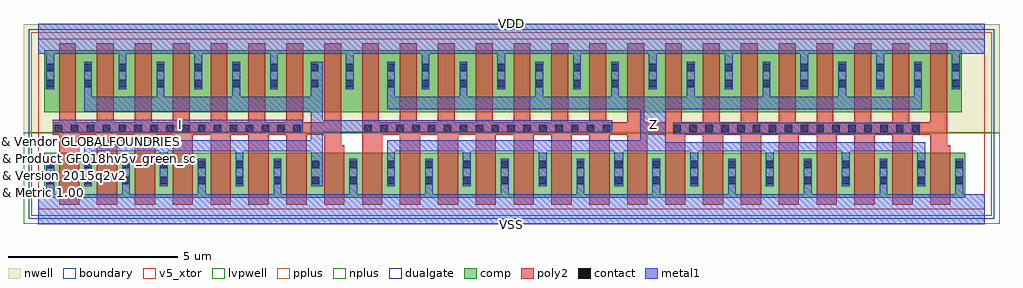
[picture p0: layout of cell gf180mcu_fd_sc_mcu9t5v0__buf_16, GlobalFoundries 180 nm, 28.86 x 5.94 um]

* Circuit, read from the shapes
.subckt gf180mcu_fd_sc_mcu9t5v0__buf_16 I VDD VSS Z
XM1 n1 I VSS VSUBS nfet_05v0 w=1.32u l=0.6u m=8
XM2 Z n1 VSS VSUBS nfet_05v0 w=1.32u l=0.6u m=16
XM3 n1 I VDD n2 pfet_05v0 w=1.83u l=0.5u m=8
XM4 Z n1 VDD n2 pfet_05v0 w=1.83u l=0.5u m=16
.ends

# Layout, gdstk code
import gdstk
lib = gdstk.Library(unit=1e-6, precision=1e-09)
def R(c, l, rs):  # rectangles x0, y0, x1, y1
    for r in rs: c.add(gdstk.rectangle(r[:2], r[2:], *l))
def A(c, l, x, y, w, h, nx, ny, dx, dy):  # array of equal rectangles
    R(c, l, [(x+i*dx, y+j*dy, x+i*dx+w, y+j*dy+h) for i in range(nx) for j in range(ny)])
def P(c, l, *ps):  # polygons
    for p in ps: c.add(gdstk.Polygon(p, *l))
boundary = (0, 0)
nwell = (21, 0)
comp = (22, 0)
poly2 = (30, 0)
pplus = (31, 0)
nplus = (32, 0)
contact = (33, 0)
metal1 = (34, 0)
dualgate = (55, 0)
v5_xtor = (112, 1)
lvpwell = (204, 0)

gf180mcu_fd_sc_mcu9t5v0_ = lib.new_cell('gf180mcu_fd_sc_mcu9t5v0__buf_16')
R(gf180mcu_fd_sc_mcu9t5v0_, boundary, [(0,0,28,5.04)])
R(gf180mcu_fd_sc_mcu9t5v0_, nwell, [(-0.43,2.265,28.43,5.47)])
R(gf180mcu_fd_sc_mcu9t5v0_, comp, [(0.18,0.345,27.42,1.665), (0.18,2.865,27.32,4.695)])
P(gf180mcu_fd_sc_mcu9t5v0_, poly2, [(0.62,0.125),(0.62,2.205),(0.43,2.205),(0.43,2.565),(0.62,2.565),(0.62,4.915),(1.12,4.915),(1.12,2.565),(1.74,2.565),(1.74,4.915),(2.24,4.915),(2.24,2.565),(2.86,2.565),(2.86,4.915),(3.36,4.915),(3.36,2.565),(3.98,2.565),(3.98,4.915),(4.48,4.915),(4.48,2.565),(5.1,2.565),(5.1,4.915),(5.6,4.915),(5.6,2.565),(6.22,2.565),(6.22,4.915),(6.72,4.915),(6.72,2.565),(7.34,2.565),(7.34,4.915),(7.84,4.915),(7.84,2.565),(8.46,2.565),(8.46,4.915),(8.96,4.915),(8.96,1.885),(9.06,1.885),(9.06,0.125),(8.46,0.125),(8.46,2.2),(7.94,2.2),(7.94,0.125),(7.34,0.125),(7.34,2.205),(6.82,2.205),(6.82,0.125),(6.22,0.125),(6.22,2.205),(5.7,2.205),(5.7,0.125),(5.1,0.125),(5.1,2.205),(4.58,2.205),(4.58,0.125),(3.98,0.125),(3.98,2.205),(3.46,2.205),(3.46,0.125),(2.86,0.125),(2.86,2.205),(2.34,2.205),(2.34,0.125),(1.74,0.125),(1.74,2.205),(1.22,2.205),(1.22,0.125)],
  [(9.58,0.125),(9.58,4.915),(10.08,4.915),(10.08,2.565),(10.7,2.565),(10.7,4.915),(11.2,4.915),(11.2,2.565),(11.82,2.565),(11.82,4.915),(12.32,4.915),(12.32,2.565),(12.94,2.565),(12.94,4.915),(13.44,4.915),(13.44,2.565),(14.06,2.565),(14.06,4.915),(14.56,4.915),(14.56,2.565),(15.18,2.565),(15.18,4.915),(15.68,4.915),(15.68,2.565),(16.3,2.565),(16.3,4.915),(16.8,4.915),(16.8,2.565),(17.42,2.565),(17.42,4.915),(17.92,4.915),(17.92,2.565),(18.54,2.565),(18.54,4.915),(19.04,4.915),(19.04,2.565),(19.66,2.565),(19.66,4.915),(20.16,4.915),(20.16,2.565),(20.78,2.565),(20.78,4.915),(21.28,4.915),(21.28,2.565),(21.9,2.565),(21.9,4.915),(22.4,4.915),(22.4,2.565),(23.02,2.565),(23.02,4.915),(23.52,4.915),(23.52,2.565),(24.14,2.565),(24.14,4.915),(24.64,4.915),(24.64,2.565),(25.26,2.565),(25.26,4.915),(25.76,4.915),(25.76,2.565),(26.38,2.565),(26.38,4.915),(26.88,4.915),(26.88,1.885),(26.98,1.885),(26.98,0.125),(26.38,0.125),(26.38,2.205),(25.86,2.205),(25.86,0.125),(25.26,0.125),(25.26,2.205),(24.74,2.205),(24.74,0.125),(24.14,0.125),(24.14,2.205),(23.62,2.205),(23.62,0.125),(23.02,0.125),(23.02,2.205),(22.5,2.205),(22.5,0.125),(21.9,0.125),(21.9,2.205),(21.38,2.205),(21.38,0.125),(20.78,0.125),(20.78,2.205),(20.26,2.205),(20.26,0.125),(19.66,0.125),(19.66,2.205),(19.14,2.205),(19.14,0.125),(18.54,0.125),(18.54,2.205),(18.02,2.205),(18.02,0.125),(17.42,0.125),(17.42,2.205),(16.9,2.205),(16.9,0.125),(16.3,0.125),(16.3,2.205),(15.78,2.205),(15.78,0.125),(15.18,0.125),(15.18,2.205),(14.66,2.205),(14.66,0.125),(14.06,0.125),(14.06,2.205),(13.54,2.205),(13.54,0.125),(12.94,0.125),(12.94,2.205),(12.42,2.205),(12.42,0.125),(11.82,0.125),(11.82,2.205),(11.3,2.205),(11.3,0.125),(10.7,0.125),(10.7,2.205),(10.18,2.205),(10.18,0.125)])
R(gf180mcu_fd_sc_mcu9t5v0_, pplus, [(-0.2,2.265,28.2,5.24)])
R(gf180mcu_fd_sc_mcu9t5v0_, nplus, [(-0.2,-0.2,28.2,2.265)])
A(gf180mcu_fd_sc_mcu9t5v0_, contact, 0.25, 0.74, 0.22, 0.22, 25, 2, 1.12, 0.47)
A(gf180mcu_fd_sc_mcu9t5v0_, contact, 0.5, 2.275, 0.22, 0.22, 16, 1, 0.47, 0)
A(gf180mcu_fd_sc_mcu9t5v0_, contact, 9.65, 2.275, 0.22, 0.22, 16, 1, 0.47, 0)
A(gf180mcu_fd_sc_mcu9t5v0_, contact, 18.79, 2.275, 0.22, 0.22, 16, 1, 0.47, 0)
A(gf180mcu_fd_sc_mcu9t5v0_, contact, 2.39, 3.61, 0.22, 0.22, 5, 2, 1.12, 0.47)
A(gf180mcu_fd_sc_mcu9t5v0_, contact, 11.35, 3.61, 0.22, 0.22, 15, 2, 1.12, 0.47)
R(gf180mcu_fd_sc_mcu9t5v0_, contact, [(0.25,3.61,0.47,3.83), (1.37,3.61,1.59,3.83), (8.065,3.61,8.285,3.83), (9.11,3.61,9.33,3.83), (10.33,3.61,10.55,3.83), (0.25,4.08,0.47,4.3), (1.37,4.08,1.59,4.3), (8.065,4.08,8.285,4.3), (9.11,4.08,9.33,4.3), (10.33,4.08,10.55,4.3)])
R(gf180mcu_fd_sc_mcu9t5v0_, metal1, [(18.785,2.215,26.065,2.555), (0.44,2.27,7.83,2.65)])
P(gf180mcu_fd_sc_mcu9t5v0_, metal1, [(1.365,0.68),(1.365,2.04),(8.06,2.04),(8.06,2.88),(1.365,2.88),(1.365,4.36),(1.595,4.36),(1.595,3.32),(3.505,3.32),(3.505,4.36),(3.735,4.36),(3.735,3.32),(5.745,3.32),(5.745,4.36),(5.975,4.36),(5.975,3.32),(8.06,3.32),(8.06,4.36),(8.425,4.36),(8.425,2.63),(16.98,2.63),(16.98,2.27),(8.425,2.27),(8.425,0.68),(8.085,0.68),(8.085,1.72),(6.075,1.72),(6.075,0.68),(5.845,0.68),(5.845,1.72),(3.835,1.72),(3.835,0.68),(3.605,0.68),(3.605,1.72),(1.595,1.72),(1.595,0.68)],
  [(10.325,0.68),(10.325,2.04),(17.805,2.04),(17.805,2.96),(10.325,2.96),(10.325,4.36),(10.555,4.36),(10.555,3.32),(12.465,3.32),(12.465,4.36),(12.695,4.36),(12.695,3.32),(14.705,3.32),(14.705,4.36),(14.935,4.36),(14.935,3.32),(16.945,3.32),(16.945,4.36),(17.175,4.36),(17.175,3.32),(19.185,3.32),(19.185,4.36),(19.415,4.36),(19.415,3.32),(21.425,3.32),(21.425,4.36),(21.655,4.36),(21.655,3.32),(23.665,3.32),(23.665,4.36),(23.895,4.36),(23.895,3.32),(25.905,3.32),(25.905,4.36),(26.135,4.36),(26.135,2.96),(18.555,2.96),(18.555,1.985),(26.235,1.985),(26.235,0.68),(26.005,0.68),(26.005,1.72),(23.995,1.72),(23.995,0.68),(23.765,0.68),(23.765,1.72),(21.755,1.72),(21.755,0.68),(21.525,0.68),(21.525,1.72),(19.515,1.72),(19.515,0.68),(19.285,0.68),(19.285,1.72),(17.305,1.72),(17.305,0.68),(17.045,0.68),(17.045,1.72),(15.035,1.72),(15.035,0.68),(14.805,0.68),(14.805,1.72),(12.795,1.72),(12.795,0.68),(12.565,0.68),(12.565,1.72),(10.555,1.72),(10.555,0.68)],
  [(0,-0.45),(0,0.45),(0.245,0.45),(0.245,1.49),(0.475,1.49),(0.475,0.45),(2.485,0.45),(2.485,1.49),(2.715,1.49),(2.715,0.45),(4.725,0.45),(4.725,1.49),(4.955,1.49),(4.955,0.45),(6.965,0.45),(6.965,1.49),(7.195,1.49),(7.195,0.45),(9.205,0.45),(9.205,1.49),(9.435,1.49),(9.435,0.45),(11.445,0.45),(11.445,1.49),(11.675,1.49),(11.675,0.45),(13.685,0.45),(13.685,1.49),(13.915,1.49),(13.915,0.45),(15.925,0.45),(15.925,1.49),(16.155,1.49),(16.155,0.45),(18.165,0.45),(18.165,1.49),(18.395,1.49),(18.395,0.45),(20.405,0.45),(20.405,1.49),(20.635,1.49),(20.635,0.45),(22.645,0.45),(22.645,1.49),(22.875,1.49),(22.875,0.45),(24.885,0.45),(24.885,1.49),(25.115,1.49),(25.115,0.45),(27.125,0.45),(27.125,1.49),(27.355,1.49),(27.355,0.45),(28,0.45),(28,-0.45)],
  [(0.245,3.55),(0.245,4.59),(0,4.59),(0,5.49),(28,5.49),(28,4.59),(27.255,4.59),(27.255,3.55),(27.025,3.55),(27.025,4.59),(25.015,4.59),(25.015,3.55),(24.785,3.55),(24.785,4.59),(22.775,4.59),(22.775,3.55),(22.545,3.55),(22.545,4.59),(20.535,4.59),(20.535,3.55),(20.305,3.55),(20.305,4.59),(18.295,4.59),(18.295,3.55),(18.065,3.55),(18.065,4.59),(16.055,4.59),(16.055,3.55),(15.825,3.55),(15.825,4.59),(13.815,4.59),(13.815,3.55),(13.585,3.55),(13.585,4.59),(11.575,4.59),(11.575,3.55),(11.345,3.55),(11.345,4.59),(9.335,4.59),(9.335,3.55),(9.105,3.55),(9.105,4.59),(7.095,4.59),(7.095,3.55),(6.865,3.55),(6.865,4.59),(4.855,4.59),(4.855,3.55),(4.625,3.55),(4.625,4.59),(2.615,4.59),(2.615,3.55),(2.385,3.55),(2.385,4.59),(0.475,4.59),(0.475,3.55)])
R(gf180mcu_fd_sc_mcu9t5v0_, dualgate, [(-0.28,-0.28,28.28,5.32)])
R(gf180mcu_fd_sc_mcu9t5v0_, v5_xtor, [(0,0,28,5.04)])
R(gf180mcu_fd_sc_mcu9t5v0_, lvpwell, [(-0.43,-0.43,28.43,2.265)])
gf180mcu_fd_sc_mcu9t5v0_.add(gdstk.Label('I', (4.2,2.52), layer=34, texttype=10))
gf180mcu_fd_sc_mcu9t5v0_.add(gdstk.Label('VDD', (14,5.49), layer=34, texttype=10))
gf180mcu_fd_sc_mcu9t5v0_.add(gdstk.Label('VSS', (14,-0.45), layer=34, texttype=10))
gf180mcu_fd_sc_mcu9t5v0_.add(gdstk.Label('Z', (18.2,2.52), layer=34, texttype=10))
gf180mcu_fd_sc_mcu9t5v0_.add(gdstk.Label('& Vendor GLOBALFOUNDRIES', (0,2), layer=63, texttype=63))
gf180mcu_fd_sc_mcu9t5v0_.add(gdstk.Label('& Product GF018hv5v_green_sc9', (0,1.5), layer=63, texttype=63))
gf180mcu_fd_sc_mcu9t5v0_.add(gdstk.Label('& Version 2015q2v2', (0,1), layer=63, texttype=63))
gf180mcu_fd_sc_mcu9t5v0_.add(gdstk.Label('& Metric 1.00', (0,0.5), layer=63, texttype=63))

lib.write_gds('gf180mcu_fd_sc_mcu9t5v0__buf_16.gds')
